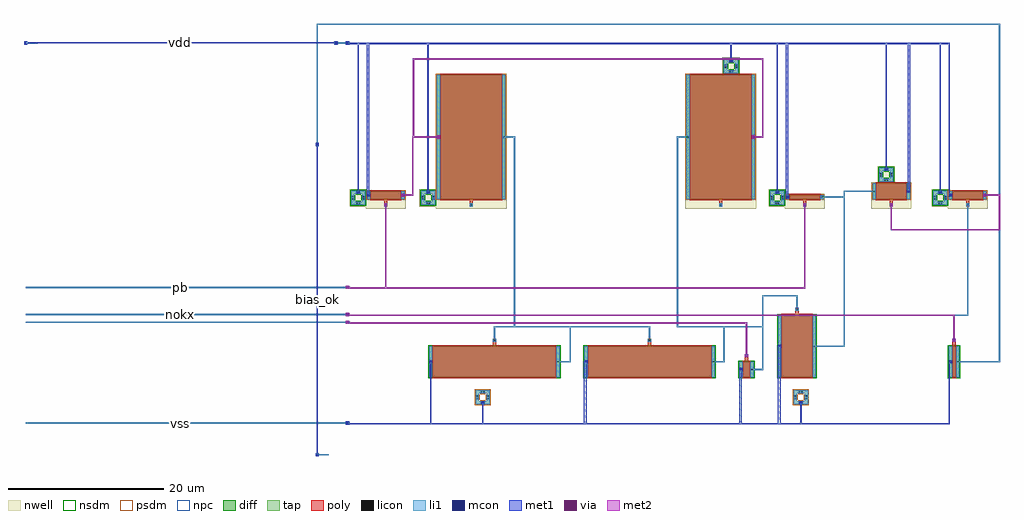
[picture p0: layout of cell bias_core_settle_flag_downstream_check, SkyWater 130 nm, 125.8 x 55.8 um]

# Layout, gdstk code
from math import pi, radians
import gdstk
lib = gdstk.Library(unit=1e-6, precision=1e-09)
def R(c, l, rs):  # rectangles x0, y0, x1, y1
    for r in rs: c.add(gdstk.rectangle(r[:2], r[2:], *l))
def P(c, l, *ps):  # polygons
    for p in ps: c.add(gdstk.Polygon(p, *l))
nwell = (64, 20)
diff = (65, 20)
tap = (65, 44)
poly = (66, 20)
licon = (66, 44)
li1 = (67, 20)
mcon = (67, 44)
met1 = (68, 20)
via = (68, 44)
met2 = (69, 20)
nsdm = (93, 44)
psdm = (94, 20)
npc = (95, 20)

stub_bias_ok__promo_stub = lib.new_cell('stub_bias_ok__promo_stub_v')
R(stub_bias_ok__promo_stub, li1, [(0,0,0.17,1.5)])

stub_nkg__promo_stub = lib.new_cell('stub_nkg__promo_stub')
R(stub_nkg__promo_stub, li1, [(0,0,1.5,0.17)])

stub_nokx__promo_stub = lib.new_cell('stub_nokx__promo_stub')
R(stub_nokx__promo_stub, li1, [(0,0,1.5,0.17)])

stub_pb__promo_stub = lib.new_cell('stub_pb__promo_stub')
R(stub_pb__promo_stub, li1, [(0,0,1.5,0.17)])

stub_vss__promo_stub = lib.new_cell('stub_vss__promo_stub')
R(stub_vss__promo_stub, li1, [(0,0,1.5,0.17)])

stub_vdd__promo_stub = lib.new_cell('stub_vdd__promo_stub')
R(stub_vdd__promo_stub, li1, [(0,0,1.5,0.17)])

pst2__core = lib.new_cell('pst2__core')
P(pst2__core, tap, [(0,0),(0,1.42),(0.42,1.42),(0.42,0.42),(1.42,0.42),(1.42,1.42),(0,1.42),(0,1.84),(1.84,1.84),(1.84,0)])
R(pst2__core, licon, [(0.67,0.125,0.84,0.295), (1,0.125,1.17,0.295), (0.125,0.67,0.295,0.84), (1.545,0.67,1.715,0.84), (0.125,1,0.295,1.17), (1.545,1,1.715,1.17), (0.67,1.545,0.84,1.715), (1,1.545,1.17,1.715)])
P(pst2__core, li1, [(0,0),(0,1.42),(0.42,1.42),(0.42,0.42),(1.42,0.42),(1.42,1.42),(0,1.42),(0,1.84),(1.84,1.84),(1.84,0)])
P(pst2__core, psdm, [(-0.125,-0.125),(-0.125,1.295),(0.545,1.295),(0.545,0.545),(1.295,0.545),(1.295,1.295),(-0.125,1.295),(-0.125,1.965),(1.965,1.965),(1.965,-0.125)])

pst2__pst2 = lib.new_cell('pst2__pst2')
pst2__pst2.add(gdstk.Reference(pst2__core, (0,0)))

pst1__core = lib.new_cell('pst1__core')
P(pst1__core, tap, [(0,0),(0,1.42),(0.42,1.42),(0.42,0.42),(1.42,0.42),(1.42,1.42),(0,1.42),(0,1.84),(1.84,1.84),(1.84,0)])
R(pst1__core, licon, [(0.67,0.125,0.84,0.295), (1,0.125,1.17,0.295), (0.125,0.67,0.295,0.84), (1.545,0.67,1.715,0.84), (0.125,1,0.295,1.17), (1.545,1,1.715,1.17), (0.67,1.545,0.84,1.715), (1,1.545,1.17,1.715)])
P(pst1__core, li1, [(0,0),(0,1.42),(0.42,1.42),(0.42,0.42),(1.42,0.42),(1.42,1.42),(0,1.42),(0,1.84),(1.84,1.84),(1.84,0)])
P(pst1__core, psdm, [(-0.125,-0.125),(-0.125,1.295),(0.545,1.295),(0.545,0.545),(1.295,0.545),(1.295,1.295),(-0.125,1.295),(-0.125,1.965),(1.965,1.965),(1.965,-0.125)])

pst1__pst1 = lib.new_cell('pst1__pst1')
pst1__pst1.add(gdstk.Reference(pst1__core, (0,0)))

nwt_mokh__core = lib.new_cell('nwt_mokh__core')
R(nwt_mokh__core, nwell, [(-0.2,-0.2,2.04,2.04)])
P(nwt_mokh__core, tap, [(0,0),(0,1.42),(0.42,1.42),(0.42,0.42),(1.42,0.42),(1.42,1.42),(0,1.42),(0,1.84),(1.84,1.84),(1.84,0)])
R(nwt_mokh__core, licon, [(0.67,0.125,0.84,0.295), (1,0.125,1.17,0.295), (0.125,0.67,0.295,0.84), (1.545,0.67,1.715,0.84), (0.125,1,0.295,1.17), (1.545,1,1.715,1.17), (0.67,1.545,0.84,1.715), (1,1.545,1.17,1.715)])
P(nwt_mokh__core, li1, [(0,0),(0,1.42),(0.42,1.42),(0.42,0.42),(1.42,0.42),(1.42,1.42),(0,1.42),(0,1.84),(1.84,1.84),(1.84,0)])
P(nwt_mokh__core, nsdm, [(-0.125,-0.125),(-0.125,1.295),(0.545,1.295),(0.545,0.545),(1.295,0.545),(1.295,1.295),(-0.125,1.295),(-0.125,1.965),(1.965,1.965),(1.965,-0.125)])

nwt_mokh__nwt_mokh = lib.new_cell('nwt_mokh__nwt_mokh')
nwt_mokh__nwt_mokh.add(gdstk.Reference(nwt_mokh__core, (0,0)))

nwt_mo1p__core = lib.new_cell('nwt_mo1p__core')
R(nwt_mo1p__core, nwell, [(-0.2,-0.2,2.04,2.04)])
P(nwt_mo1p__core, tap, [(0,0),(0,1.42),(0.42,1.42),(0.42,0.42),(1.42,0.42),(1.42,1.42),(0,1.42),(0,1.84),(1.84,1.84),(1.84,0)])
R(nwt_mo1p__core, licon, [(0.67,0.125,0.84,0.295), (1,0.125,1.17,0.295), (0.125,0.67,0.295,0.84), (1.545,0.67,1.715,0.84), (0.125,1,0.295,1.17), (1.545,1,1.715,1.17), (0.67,1.545,0.84,1.715), (1,1.545,1.17,1.715)])
P(nwt_mo1p__core, li1, [(0,0),(0,1.42),(0.42,1.42),(0.42,0.42),(1.42,0.42),(1.42,1.42),(0,1.42),(0,1.84),(1.84,1.84),(1.84,0)])
P(nwt_mo1p__core, nsdm, [(-0.125,-0.125),(-0.125,1.295),(0.545,1.295),(0.545,0.545),(1.295,0.545),(1.295,1.295),(-0.125,1.295),(-0.125,1.965),(1.965,1.965),(1.965,-0.125)])

nwt_mo1p__nwt_mo1p = lib.new_cell('nwt_mo1p__nwt_mo1p')
nwt_mo1p__nwt_mo1p.add(gdstk.Reference(nwt_mo1p__core, (0,0)))

nwt_mok2p__core = lib.new_cell('nwt_mok2p__core')
R(nwt_mok2p__core, nwell, [(-0.2,-0.2,2.04,2.04)])
P(nwt_mok2p__core, tap, [(0,0),(0,1.42),(0.42,1.42),(0.42,0.42),(1.42,0.42),(1.42,1.42),(0,1.42),(0,1.84),(1.84,1.84),(1.84,0)])
R(nwt_mok2p__core, licon, [(0.67,0.125,0.84,0.295), (1,0.125,1.17,0.295), (0.125,0.67,0.295,0.84), (1.545,0.67,1.715,0.84), (0.125,1,0.295,1.17), (1.545,1,1.715,1.17), (0.67,1.545,0.84,1.715), (1,1.545,1.17,1.715)])
P(nwt_mok2p__core, li1, [(0,0),(0,1.42),(0.42,1.42),(0.42,0.42),(1.42,0.42),(1.42,1.42),(0,1.42),(0,1.84),(1.84,1.84),(1.84,0)])
P(nwt_mok2p__core, nsdm, [(-0.125,-0.125),(-0.125,1.295),(0.545,1.295),(0.545,0.545),(1.295,0.545),(1.295,1.295),(-0.125,1.295),(-0.125,1.965),(1.965,1.965),(1.965,-0.125)])

nwt_mok2p__nwt_mok2p = lib.new_cell('nwt_mok2p__nwt_mok2p')
nwt_mok2p__nwt_mok2p.add(gdstk.Reference(nwt_mok2p__core, (0,0)))

nwt_moka__core = lib.new_cell('nwt_moka__core')
R(nwt_moka__core, nwell, [(-0.2,-0.2,2.04,2.04)])
P(nwt_moka__core, tap, [(0,0),(0,1.42),(0.42,1.42),(0.42,0.42),(1.42,0.42),(1.42,1.42),(0,1.42),(0,1.84),(1.84,1.84),(1.84,0)])
R(nwt_moka__core, licon, [(0.67,0.125,0.84,0.295), (1,0.125,1.17,0.295), (0.125,0.67,0.295,0.84), (1.545,0.67,1.715,0.84), (0.125,1,0.295,1.17), (1.545,1,1.715,1.17), (0.67,1.545,0.84,1.715), (1,1.545,1.17,1.715)])
P(nwt_moka__core, li1, [(0,0),(0,1.42),(0.42,1.42),(0.42,0.42),(1.42,0.42),(1.42,1.42),(0,1.42),(0,1.84),(1.84,1.84),(1.84,0)])
P(nwt_moka__core, nsdm, [(-0.125,-0.125),(-0.125,1.295),(0.545,1.295),(0.545,0.545),(1.295,0.545),(1.295,1.295),(-0.125,1.295),(-0.125,1.965),(1.965,1.965),(1.965,-0.125)])

nwt_moka__nwt_moka = lib.new_cell('nwt_moka__nwt_moka')
nwt_moka__nwt_moka.add(gdstk.Reference(nwt_moka__core, (0,0)))

nwt_mokb__core = lib.new_cell('nwt_mokb__core')
R(nwt_mokb__core, nwell, [(-0.2,-0.2,2.04,2.04)])
P(nwt_mokb__core, tap, [(0,0),(0,1.42),(0.42,1.42),(0.42,0.42),(1.42,0.42),(1.42,1.42),(0,1.42),(0,1.84),(1.84,1.84),(1.84,0)])
R(nwt_mokb__core, licon, [(0.67,0.125,0.84,0.295), (1,0.125,1.17,0.295), (0.125,0.67,0.295,0.84), (1.545,0.67,1.715,0.84), (0.125,1,0.295,1.17), (1.545,1,1.715,1.17), (0.67,1.545,0.84,1.715), (1,1.545,1.17,1.715)])
P(nwt_mokb__core, li1, [(0,0),(0,1.42),(0.42,1.42),(0.42,0.42),(1.42,0.42),(1.42,1.42),(0,1.42),(0,1.84),(1.84,1.84),(1.84,0)])
P(nwt_mokb__core, nsdm, [(-0.125,-0.125),(-0.125,1.295),(0.545,1.295),(0.545,0.545),(1.295,0.545),(1.295,1.295),(-0.125,1.295),(-0.125,1.965),(1.965,1.965),(1.965,-0.125)])

nwt_mokb__nwt_mokb = lib.new_cell('nwt_mokb__nwt_mokb')
nwt_mokb__nwt_mokb.add(gdstk.Reference(nwt_mokb__core, (0,0)))

nwt_mpok__core = lib.new_cell('nwt_mpok__core')
R(nwt_mpok__core, nwell, [(-0.2,-0.2,2.04,2.04)])
P(nwt_mpok__core, tap, [(0,0),(0,1.42),(0.42,1.42),(0.42,0.42),(1.42,0.42),(1.42,1.42),(0,1.42),(0,1.84),(1.84,1.84),(1.84,0)])
R(nwt_mpok__core, licon, [(0.67,0.125,0.84,0.295), (1,0.125,1.17,0.295), (0.125,0.67,0.295,0.84), (1.545,0.67,1.715,0.84), (0.125,1,0.295,1.17), (1.545,1,1.715,1.17), (0.67,1.545,0.84,1.715), (1,1.545,1.17,1.715)])
P(nwt_mpok__core, li1, [(0,0),(0,1.42),(0.42,1.42),(0.42,0.42),(1.42,0.42),(1.42,1.42),(0,1.42),(0,1.84),(1.84,1.84),(1.84,0)])
P(nwt_mpok__core, nsdm, [(-0.125,-0.125),(-0.125,1.295),(0.545,1.295),(0.545,0.545),(1.295,0.545),(1.295,1.295),(-0.125,1.295),(-0.125,1.965),(1.965,1.965),(1.965,-0.125)])

nwt_mpok__nwt_mpok = lib.new_cell('nwt_mpok__nwt_mpok')
nwt_mpok__nwt_mpok.add(gdstk.Reference(nwt_mpok__core, (0,0)))

mokh_pfet__core = lib.new_cell('mokh_pfet__core')
R(mokh_pfet__core, nwell, [(-0.15,-0.15,4.99,3.27)])
R(mokh_pfet__core, diff, [(0,0,4.84,2)])
R(mokh_pfet__core, poly, [(0.42,-0.15,4.42,2), (0.42,2,4.42,2.15), (0.42,2,4.42,2.15), (2.21,2.15,2.63,2.97)])
R(mokh_pfet__core, licon, [(0.125,0.915,0.295,1.085), (4.545,0.915,4.715,1.085), (2.335,2.675,2.505,2.845)])
R(mokh_pfet__core, li1, [(0,0,0.42,2), (4.42,0,4.84,2), (2.21,2.55,2.63,2.97)])
R(mokh_pfet__core, psdm, [(-0.125,-0.125,4.965,2.125)])
R(mokh_pfet__core, npc, [(2.235,2.575,2.605,2.945)])

mokh__mokh_pfet = lib.new_cell('mokh__mokh_pfet')
mokh__mokh_pfet.add(gdstk.Reference(mokh_pfet__core, (0,0)))

mo1n_nfet__core = lib.new_cell('mo1n_nfet__core')
R(mo1n_nfet__core, diff, [(0,0,1.34,4)])
R(mo1n_nfet__core, poly, [(0.42,-0.15,0.92,4), (0.42,4,0.92,4.15), (0.42,4,0.92,4.15), (0.46,4.15,0.88,4.97)])
R(mo1n_nfet__core, licon, [(0.125,1.915,0.295,2.085), (1.045,1.915,1.215,2.085), (0.585,4.675,0.755,4.845)])
R(mo1n_nfet__core, li1, [(0,0,0.42,4), (0.92,0,1.34,4), (0.46,4.55,0.88,4.97)])
R(mo1n_nfet__core, nsdm, [(-0.125,-0.125,1.465,4.125)])
R(mo1n_nfet__core, npc, [(0.485,4.575,0.855,4.945)])

mo1n__mo1n_nfet = lib.new_cell('mo1n__mo1n_nfet')
mo1n__mo1n_nfet.add(gdstk.Reference(mo1n_nfet__core, (0,0)))

mok2_nfet__core = lib.new_cell('mok2_nfet__core')
R(mok2_nfet__core, diff, [(0,0,4.84,8)])
R(mok2_nfet__core, poly, [(0.42,-0.15,4.42,8), (0.42,8,4.42,8.15), (0.42,8,4.42,8.15), (2.21,8.15,2.63,8.97)])
R(mok2_nfet__core, licon, [(0.125,3.915,0.295,4.085), (4.545,3.915,4.715,4.085), (2.335,8.675,2.505,8.845)])
R(mok2_nfet__core, li1, [(0,0,0.42,8), (4.42,0,4.84,8), (2.21,8.55,2.63,8.97)])
R(mok2_nfet__core, nsdm, [(-0.125,-0.125,4.965,8.125)])
R(mok2_nfet__core, npc, [(2.235,8.575,2.605,8.945)])

mok2__mok2_nfet = lib.new_cell('mok2__mok2_nfet')
mok2__mok2_nfet.add(gdstk.Reference(mok2_nfet__core, (0,0)))

mokc_nfet__core = lib.new_cell('mokc_nfet__core')
R(mokc_nfet__core, diff, [(0,0,1.84,2)])
R(mokc_nfet__core, poly, [(0.42,-0.15,1.42,2), (0.42,2,1.42,2.15), (0.42,2,1.42,2.15), (0.71,2.15,1.13,2.97)])
R(mokc_nfet__core, licon, [(0.125,0.915,0.295,1.085), (1.545,0.915,1.715,1.085), (0.835,2.675,1.005,2.845)])
R(mokc_nfet__core, li1, [(0,0,0.42,2), (1.42,0,1.84,2), (0.71,2.55,1.13,2.97)])
R(mokc_nfet__core, nsdm, [(-0.125,-0.125,1.965,2.125)])
R(mokc_nfet__core, npc, [(0.735,2.575,1.105,2.945)])

mokc__mokc_nfet = lib.new_cell('mokc__mokc_nfet')
mokc__mokc_nfet.add(gdstk.Reference(mokc_nfet__core, (0,0)))

mol2_nfet__core = lib.new_cell('mol2_nfet__core')
R(mol2_nfet__core, diff, [(0,0,16.84,4)])
R(mol2_nfet__core, poly, [(0.42,-0.15,16.42,4), (0.42,4,16.42,4.15), (0.42,4,16.42,4.15), (8.21,4.15,8.63,4.97)])
R(mol2_nfet__core, licon, [(0.125,1.915,0.295,2.085), (16.545,1.915,16.715,2.085), (8.335,4.675,8.505,4.845)])
R(mol2_nfet__core, li1, [(0,0,0.42,4), (16.42,0,16.84,4), (8.21,4.55,8.63,4.97)])
R(mol2_nfet__core, nsdm, [(-0.125,-0.125,16.965,4.125)])
R(mol2_nfet__core, npc, [(8.235,4.575,8.605,4.945)])

mol2__mol2_nfet = lib.new_cell('mol2__mol2_nfet')
mol2__mol2_nfet.add(gdstk.Reference(mol2_nfet__core, (0,0)))

mol1_nfet__core = lib.new_cell('mol1_nfet__core')
R(mol1_nfet__core, diff, [(0,0,16.84,4)])
R(mol1_nfet__core, poly, [(0.42,-0.15,16.42,4), (0.42,4,16.42,4.15), (0.42,4,16.42,4.15), (8.21,4.15,8.63,4.97)])
R(mol1_nfet__core, licon, [(0.125,1.915,0.295,2.085), (16.545,1.915,16.715,2.085), (8.335,4.675,8.505,4.845)])
R(mol1_nfet__core, li1, [(0,0,0.42,4), (16.42,0,16.84,4), (8.21,4.55,8.63,4.97)])
R(mol1_nfet__core, nsdm, [(-0.125,-0.125,16.965,4.125)])
R(mol1_nfet__core, npc, [(8.235,4.575,8.605,4.945)])

mol1__mol1_nfet = lib.new_cell('mol1__mol1_nfet')
mol1__mol1_nfet.add(gdstk.Reference(mol1_nfet__core, (0,0)))

mo1p_pfet__core = lib.new_cell('mo1p_pfet__core')
R(mo1p_pfet__core, nwell, [(-0.15,-0.15,4.99,2.27)])
R(mo1p_pfet__core, diff, [(0,0,4.84,1)])
R(mo1p_pfet__core, poly, [(0.42,-0.15,4.42,1), (0.42,1,4.42,1.15), (0.42,1,4.42,1.15), (2.21,1.15,2.63,1.97)])
R(mo1p_pfet__core, licon, [(0.125,0.415,0.295,0.585), (4.545,0.415,4.715,0.585), (2.335,1.675,2.505,1.845)])
R(mo1p_pfet__core, li1, [(0,0,0.42,1), (4.42,0,4.84,1), (2.21,1.55,2.63,1.97)])
R(mo1p_pfet__core, psdm, [(-0.125,-0.125,4.965,1.125)])
R(mo1p_pfet__core, npc, [(2.235,1.575,2.605,1.945)])

mo1p__mo1p_pfet = lib.new_cell('mo1p__mo1p_pfet')
mo1p__mo1p_pfet.add(gdstk.Reference(mo1p_pfet__core, (0,0)))

mok2p_pfet__core = lib.new_cell('mok2p_pfet__core')
R(mok2p_pfet__core, nwell, [(-0.15,-0.15,4.99,1.77)])
R(mok2p_pfet__core, diff, [(0,0,4.84,0.5)])
R(mok2p_pfet__core, poly, [(0.42,-0.15,4.42,0.5), (0.42,0.5,4.42,0.65), (0.42,0.5,4.42,0.65), (2.21,0.65,2.63,1.47)])
R(mok2p_pfet__core, licon, [(0.125,0.165,0.295,0.335), (4.545,0.165,4.715,0.335), (2.335,1.175,2.505,1.345)])
R(mok2p_pfet__core, li1, [(0,0,0.42,0.5), (4.42,0,4.84,0.5), (2.21,1.05,2.63,1.47)])
R(mok2p_pfet__core, psdm, [(-0.125,-0.125,4.965,0.625)])
R(mok2p_pfet__core, npc, [(2.235,1.075,2.605,1.445)])

mok2p__mok2p_pfet = lib.new_cell('mok2p__mok2p_pfet')
mok2p__mok2p_pfet.add(gdstk.Reference(mok2p_pfet__core, (0,0)))

moka_pfet__core = lib.new_cell('moka_pfet__core')
R(moka_pfet__core, nwell, [(-0.15,-0.15,8.99,17.27)])
R(moka_pfet__core, diff, [(0,0,8.84,16)])
R(moka_pfet__core, poly, [(0.42,-0.15,8.42,16), (0.42,16,8.42,16.15), (0.42,16,8.42,16.15), (4.21,16.15,4.63,16.97)])
R(moka_pfet__core, licon, [(0.125,7.915,0.295,8.085), (8.545,7.915,8.715,8.085), (4.335,16.675,4.505,16.845)])
R(moka_pfet__core, li1, [(0,0,0.42,16), (8.42,0,8.84,16), (4.21,16.55,4.63,16.97)])
R(moka_pfet__core, psdm, [(-0.125,-0.125,8.965,16.125)])
R(moka_pfet__core, npc, [(4.235,16.575,4.605,16.945)])

moka__moka_pfet = lib.new_cell('moka__moka_pfet')
moka__moka_pfet.add(gdstk.Reference(moka_pfet__core, (0,0)))

mokb_pfet__core = lib.new_cell('mokb_pfet__core')
R(mokb_pfet__core, nwell, [(-0.15,-0.15,8.99,17.27)])
R(mokb_pfet__core, diff, [(0,0,8.84,16)])
R(mokb_pfet__core, poly, [(0.42,-0.15,8.42,16), (0.42,16,8.42,16.15), (0.42,16,8.42,16.15), (4.21,16.15,4.63,16.97)])
R(mokb_pfet__core, licon, [(0.125,7.915,0.295,8.085), (8.545,7.915,8.715,8.085), (4.335,16.675,4.505,16.845)])
R(mokb_pfet__core, li1, [(0,0,0.42,16), (8.42,0,8.84,16), (4.21,16.55,4.63,16.97)])
R(mokb_pfet__core, psdm, [(-0.125,-0.125,8.965,16.125)])
R(mokb_pfet__core, npc, [(4.235,16.575,4.605,16.945)])

mokb__mokb_pfet = lib.new_cell('mokb__mokb_pfet')
mokb__mokb_pfet.add(gdstk.Reference(mokb_pfet__core, (0,0)))

mpok_pfet__core = lib.new_cell('mpok_pfet__core')
R(mpok_pfet__core, nwell, [(-0.15,-0.15,4.99,2.27)])
R(mpok_pfet__core, diff, [(0,0,4.84,1)])
R(mpok_pfet__core, poly, [(0.42,-0.15,4.42,1), (0.42,1,4.42,1.15), (0.42,1,4.42,1.15), (2.21,1.15,2.63,1.97)])
R(mpok_pfet__core, licon, [(0.125,0.415,0.295,0.585), (4.545,0.415,4.715,0.585), (2.335,1.675,2.505,1.845)])
R(mpok_pfet__core, li1, [(0,0,0.42,1), (4.42,0,4.84,1), (2.21,1.55,2.63,1.97)])
R(mpok_pfet__core, psdm, [(-0.125,-0.125,4.965,1.125)])
R(mpok_pfet__core, npc, [(2.235,1.575,2.605,1.945)])

mpok__mpok_pfet = lib.new_cell('mpok__mpok_pfet')
mpok__mpok_pfet.add(gdstk.Reference(mpok_pfet__core, (0,0)))

sub__bias_core_settle_fl = lib.new_cell('sub__bias_core_settle_flag')
R(sub__bias_core_settle_fl, li1, [(-2.71,-6.125,-2.29,-5.705), (14.71,-3.5,15.13,-3.08), (14.71,-3.5,15.13,-3.08), (55.71,-3.5,56.13,-3.08), (55.71,-3.5,56.13,-3.08), (48,0.79,48.42,1.21), (48,0.79,48.42,1.21), (8,1.79,8.42,2.21), (8,1.79,8.42,2.21), (28,1.79,28.42,2.21), (28,1.79,28.42,2.21), (75,1.79,75.42,2.21), (48.71,2.55,49.13,2.97), (53,3.79,53.42,4.21), (53,3.79,53.42,4.21), (75.46,4.55,75.88,4.97), (16.21,4.76,16.63,4.93), (16.21,4.76,16.63,4.93), (36.21,4.76,36.63,4.93), (36.21,4.76,36.63,4.93), (75.46,4.76,75.88,4.93), (75.46,4.76,75.88,4.93), (-2.71,6.875,-2.29,7.295), (-2.71,7.875,-2.29,8.295), (55.21,8.76,55.63,8.93), (-2.71,11.375,-2.29,11.795), (2.21,22,2.63,22.42), (2.21,22,2.63,22.42), (56.21,22,56.63,22.42), (67.37,22,67.79,22.42), (77.21,22.04,77.63,22.21), (54,23.01,54.42,23.43), (54,23.01,54.42,23.43), (0,23.26,0.42,23.68), (0,23.26,0.42,23.68), (4.42,23.26,4.84,23.68), (75,23.26,75.42,23.68), (79.42,23.26,79.84,23.68), (-1.33,23.62,-0.91,24.04), (-1.33,23.62,-0.91,24.04), (7.67,23.62,8.09,24.04), (7.67,23.62,8.09,24.04), (52.67,23.62,53.09,24.04), (52.67,23.62,53.09,24.04), (73.67,23.62,74.09,24.04), (73.67,23.62,74.09,24.04), (69.58,23.76,70,24.18), (69.58,23.76,70,24.18), (66.72,26.59,67.14,27.01), (66.72,26.59,67.14,27.01), (9,30.76,9.42,31.18), (9,30.76,9.42,31.18), (49.58,30.76,50,31.18), (46.72,40.59,47.14,41.01), (46.72,40.59,47.14,41.01), (-2.71,42.875,-2.29,43.295)])
R(sub__bias_core_settle_fl, mcon, [(-2.585,-6,-2.415,-5.83), (14.835,-3.375,15.005,-3.205), (14.835,-3.375,15.005,-3.205), (55.835,-3.375,56.005,-3.205), (55.835,-3.375,56.005,-3.205), (48.125,0.915,48.295,1.085), (48.125,0.915,48.295,1.085), (8.125,1.915,8.295,2.085), (8.125,1.915,8.295,2.085), (28.125,1.915,28.295,2.085), (28.125,1.915,28.295,2.085), (75.125,1.915,75.295,2.085), (48.835,2.675,49.005,2.845), (53.125,3.915,53.295,4.085), (53.125,3.915,53.295,4.085), (75.585,4.675,75.755,4.845), (-2.585,7,-2.415,7.17), (-2.585,8,-2.415,8.17), (-2.585,11.5,-2.415,11.67), (2.335,22.125,2.505,22.295), (2.335,22.125,2.505,22.295), (56.335,22.125,56.505,22.295), (67.495,22.125,67.665,22.295), (54.125,23.135,54.295,23.305), (54.125,23.135,54.295,23.305), (0.125,23.385,0.295,23.555), (0.125,23.385,0.295,23.555), (4.545,23.385,4.715,23.555), (75.125,23.385,75.295,23.555), (79.545,23.385,79.715,23.555), (-1.205,23.745,-1.035,23.915), (-1.205,23.745,-1.035,23.915), (7.795,23.745,7.965,23.915), (7.795,23.745,7.965,23.915), (52.795,23.745,52.965,23.915), (52.795,23.745,52.965,23.915), (73.795,23.745,73.965,23.915), (73.795,23.745,73.965,23.915), (69.705,23.885,69.875,24.055), (69.705,23.885,69.875,24.055), (66.845,26.715,67.015,26.885), (66.845,26.715,67.015,26.885), (9.125,30.885,9.295,31.055), (9.125,30.885,9.295,31.055), (49.705,30.885,49.875,31.055), (46.845,40.715,47.015,40.885), (46.845,40.715,47.015,40.885), (-2.585,43,-2.415,43.17)])
R(sub__bias_core_settle_fl, met1, [(-2.71,-6.125,-2.29,-5.705), (14.71,-3.5,15.13,-3.08), (14.71,-3.5,15.13,-3.08), (55.71,-3.5,56.13,-3.08), (55.71,-3.5,56.13,-3.08), (48,0.79,48.42,1.21), (48,0.79,48.42,1.21), (8,1.79,8.42,2.21), (8,1.79,8.42,2.21), (28,1.79,28.42,2.21), (28,1.79,28.42,2.21), (75,1.79,75.42,2.21), (48.71,2.55,49.13,2.97), (48.71,2.55,49.13,2.97), (53,3.79,53.42,4.21), (53,3.79,53.42,4.21), (75.46,4.55,75.88,4.97), (75.46,4.55,75.88,4.97), (-2.71,6.875,-2.29,7.295), (-2.71,6.875,-2.29,7.295), (-2.71,7.875,-2.29,8.295), (-2.71,7.875,-2.29,8.295), (-2.71,11.375,-2.29,11.795), (-2.71,11.375,-2.29,11.795), (2.21,22,2.63,22.42), (2.21,22,2.63,22.42), (2.21,22,2.63,22.42), (2.21,22,2.63,22.42), (56.21,22,56.63,22.42), (56.21,22,56.63,22.42), (67.37,22,67.79,22.42), (67.37,22,67.79,22.42), (54,23.01,54.42,23.43), (54,23.01,54.42,23.43), (0,23.26,0.42,23.68), (0,23.26,0.42,23.68), (4.42,23.26,4.84,23.68), (4.42,23.26,4.84,23.68), (75,23.26,75.42,23.68), (79.42,23.26,79.84,23.68), (79.42,23.26,79.84,23.68), (-1.33,23.62,-0.91,24.04), (-1.33,23.62,-0.91,24.04), (7.67,23.62,8.09,24.04), (7.67,23.62,8.09,24.04), (52.67,23.62,53.09,24.04), (52.67,23.62,53.09,24.04), (73.67,23.62,74.09,24.04), (73.67,23.62,74.09,24.04), (69.58,23.76,70,24.18), (69.58,23.76,70,24.18), (66.72,26.59,67.14,27.01), (66.72,26.59,67.14,27.01), (9,30.76,9.42,31.18), (9,30.76,9.42,31.18), (9,30.76,9.42,31.18), (9,30.76,9.42,31.18), (49.58,30.76,50,31.18), (49.58,30.76,50,31.18), (46.72,40.59,47.14,41.01), (46.72,40.59,47.14,41.01), (-2.71,42.875,-2.29,43.295)])
R(sub__bias_core_settle_fl, via, [(48.845,2.685,48.995,2.835), (75.595,4.685,75.745,4.835), (-2.575,7.01,-2.425,7.16), (-2.575,8.01,-2.425,8.16), (-2.575,11.51,-2.425,11.66), (2.345,22.135,2.495,22.285), (2.345,22.135,2.495,22.285), (56.345,22.135,56.495,22.285), (67.505,22.135,67.655,22.285), (4.555,23.395,4.705,23.545), (79.555,23.395,79.705,23.545), (9.135,30.895,9.285,31.045), (9.135,30.895,9.285,31.045), (49.715,30.895,49.865,31.045)])
R(sub__bias_core_settle_fl, met2, [(48.71,2.55,49.13,2.97), (75.46,4.55,75.88,4.97), (-2.71,6.875,-2.29,7.295), (-2.71,7.875,-2.29,8.295), (-2.71,11.375,-2.29,11.795), (2.21,22,2.63,22.42), (2.21,22,2.63,22.42), (56.21,22,56.63,22.42), (67.37,22,67.79,22.42), (4.42,23.26,4.84,23.68), (79.42,23.26,79.84,23.68), (9,30.76,9.42,31.18), (9,30.76,9.42,31.18), (49.58,30.76,50,31.18)])
sub__bias_core_settle_fl.add(gdstk.FlexPath([(17.63,30.97),(19,30.97),(19,6.5),(36.42,6.5),(36.42,4.76)], 0.17, ends="flush", simple_path=True, layer=67, datatype=20))  # li1
sub__bias_core_settle_fl.add(gdstk.FlexPath([(36.42,4.76),(36.42,6.5),(16.42,6.5),(16.42,4.76)], 0.17, ends="flush", simple_path=True, layer=67, datatype=20))  # li1
sub__bias_core_settle_fl.add(gdstk.FlexPath([(16.42,4.76),(16.42,6.5),(26.2,6.5),(26.2,2),(24.63,2)], 0.17, ends="flush", simple_path=True, layer=67, datatype=20))  # li1
sub__bias_core_settle_fl.add(gdstk.FlexPath([(41.37,30.97),(40,30.97),(40,6.5),(46,6.5),(46,2),(44.63,2)], 0.17, ends="flush", simple_path=True, layer=67, datatype=20))  # li1
sub__bias_core_settle_fl.add(gdstk.FlexPath([(44.63,2),(46,2),(46,6.5),(51,6.5),(51,1),(49.63,1)], 0.17, ends="flush", simple_path=True, layer=67, datatype=20))  # li1
sub__bias_core_settle_fl.add(gdstk.FlexPath([(49.63,1),(51,1),(51,10.5),(55.42,10.5),(55.42,8.76)], 0.17, ends="flush", simple_path=True, layer=67, datatype=20))  # li1
sub__bias_core_settle_fl.add(gdstk.FlexPath([(58.63,23.22),(61.5,23.22),(61.5,4),(57.63,4)], 0.17, ends="flush", simple_path=True, layer=67, datatype=20))  # li1
sub__bias_core_settle_fl.add(gdstk.FlexPath([(58.63,23.22),(61.5,23.22),(61.5,23.97),(65.37,23.97)], 0.17, ends="flush", simple_path=True, layer=67, datatype=20))  # li1
sub__bias_core_settle_fl.add(gdstk.FlexPath([(57.63,4),(61.5,4),(61.5,8),(75.67,8),(75.67,4.76)], 0.17, ends="flush", simple_path=True, layer=67, datatype=20))  # li1
sub__bias_core_settle_fl.add(gdstk.FlexPath([(75.67,4.76),(75.67,8),(77.42,8),(77.42,22.21)], 0.17, ends="flush", simple_path=True, layer=67, datatype=20))  # li1
sub__bias_core_settle_fl.add(gdstk.FlexPath([(79.63,23.47),(81.5,23.47),(81.5,2),(76.13,2)], 0.17, ends="flush", simple_path=True, layer=67, datatype=20))  # li1
sub__bias_core_settle_fl.add(gdstk.FlexPath([(79.63,23.47),(81.5,23.47),(81.5,45.5),(-6.415,45.5),(-6.415,31.5)], 0.17, ends="flush", simple_path=True, layer=67, datatype=20))  # li1
sub__bias_core_settle_fl.add(gdstk.FlexPath([(-1.12,23.83),(-1.12,43),(0.04,43),(0.04,23.47),(0.21,23.47)], 0.17, ends="flush", simple_path=True, layer=68, datatype=20))  # met1
sub__bias_core_settle_fl.add(gdstk.FlexPath([(0.21,23.47),(0.21,43),(7.88,43),(7.88,23.83)], 0.17, ends="flush", simple_path=True, layer=68, datatype=20))  # met1
sub__bias_core_settle_fl.add(gdstk.FlexPath([(7.88,23.83),(7.88,43),(46.93,43),(46.93,40.8)], 0.17, ends="flush", simple_path=True, layer=68, datatype=20))  # met1
sub__bias_core_settle_fl.add(gdstk.FlexPath([(46.93,40.8),(46.93,43),(52.88,43),(52.88,23.83)], 0.17, ends="flush", simple_path=True, layer=68, datatype=20))  # met1
sub__bias_core_settle_fl.add(gdstk.FlexPath([(52.88,23.83),(52.88,43),(54.04,43),(54.04,23.22),(54.21,23.22)], 0.17, ends="flush", simple_path=True, layer=68, datatype=20))  # met1
sub__bias_core_settle_fl.add(gdstk.FlexPath([(54.21,23.22),(54.21,43),(66.93,43),(66.93,26.8)], 0.17, ends="flush", simple_path=True, layer=68, datatype=20))  # met1
sub__bias_core_settle_fl.add(gdstk.FlexPath([(66.93,26.8),(66.93,43),(69.96,43),(69.96,23.97),(69.79,23.97)], 0.17, ends="flush", simple_path=True, layer=68, datatype=20))  # met1
sub__bias_core_settle_fl.add(gdstk.FlexPath([(69.79,23.97),(69.79,43),(73.88,43),(73.88,23.83)], 0.17, ends="flush", simple_path=True, layer=68, datatype=20))  # met1
sub__bias_core_settle_fl.add(gdstk.FlexPath([(73.88,23.83),(73.88,43),(75.04,43),(75.04,23.47),(75.21,23.47)], 0.17, ends="flush", simple_path=True, layer=68, datatype=20))  # met1
sub__bias_core_settle_fl.add(gdstk.FlexPath([(-1.12,23.83),(-1.12,43),(-2.33,43),(-2.33,43.085),(-2.5,43.085)], 0.17, ends="flush", simple_path=True, layer=68, datatype=20))  # met1
sub__bias_core_settle_fl.add(gdstk.FlexPath([(8.21,2),(8.21,-6),(14.92,-6),(14.92,-3.29)], 0.17, ends="flush", simple_path=True, layer=68, datatype=20))  # met1
sub__bias_core_settle_fl.add(gdstk.FlexPath([(14.92,-3.29),(14.92,-6),(28.04,-6),(28.04,2),(28.21,2)], 0.17, ends="flush", simple_path=True, layer=68, datatype=20))  # met1
sub__bias_core_settle_fl.add(gdstk.FlexPath([(28.21,2),(28.21,-6),(48.04,-6),(48.04,1),(48.21,1)], 0.17, ends="flush", simple_path=True, layer=68, datatype=20))  # met1
sub__bias_core_settle_fl.add(gdstk.FlexPath([(48.21,1),(48.21,-6),(53.04,-6),(53.04,4),(53.21,4)], 0.17, ends="flush", simple_path=True, layer=68, datatype=20))  # met1
sub__bias_core_settle_fl.add(gdstk.FlexPath([(53.21,4),(53.21,-6),(55.92,-6),(55.92,-3.29)], 0.17, ends="flush", simple_path=True, layer=68, datatype=20))  # met1
sub__bias_core_settle_fl.add(gdstk.FlexPath([(55.92,-3.29),(55.92,-6),(75.04,-6),(75.04,2),(75.21,2)], 0.17, ends="flush", simple_path=True, layer=68, datatype=20))  # met1
sub__bias_core_settle_fl.add(gdstk.FlexPath([(8.21,2),(8.21,-6),(-2.33,-6),(-2.33,-5.915),(-2.5,-5.915)], 0.17, ends="flush", simple_path=True, layer=68, datatype=20))  # met1
sub__bias_core_settle_fl.add(gdstk.FlexPath([(4.63,23.47),(5.9,23.47),(5.9,30.97),(9.21,30.97)], 0.17, ends="flush", simple_path=True, layer=69, datatype=20))  # met2
sub__bias_core_settle_fl.add(gdstk.FlexPath([(9.21,30.97),(6,30.97),(6,41),(51,41),(51,30.97),(49.79,30.97)], 0.17, ends="flush", simple_path=True, layer=69, datatype=20))  # met2
sub__bias_core_settle_fl.add(gdstk.FlexPath([(2.42,22.21),(2.42,11.5),(56.42,11.5),(56.42,22.21)], 0.17, ends="flush", simple_path=True, layer=69, datatype=20))  # met2
sub__bias_core_settle_fl.add(gdstk.FlexPath([(2.42,22.21),(2.42,11.5),(-2.33,11.5),(-2.33,11.585),(-2.5,11.585)], 0.17, ends="flush", simple_path=True, layer=69, datatype=20))  # met2
sub__bias_core_settle_fl.add(gdstk.FlexPath([(75.67,4.76),(75.67,8),(-2.33,8),(-2.33,8.085),(-2.5,8.085)], 0.17, ends="flush", simple_path=True, layer=69, datatype=20))  # met2
sub__bias_core_settle_fl.add(gdstk.FlexPath([(79.63,23.47),(81.5,23.47),(81.5,19),(67.58,19),(67.58,22.21)], 0.17, ends="flush", simple_path=True, layer=69, datatype=20))  # met2
sub__bias_core_settle_fl.add(gdstk.FlexPath([(48.92,2.76),(48.92,7),(-2.33,7),(-2.33,7.085),(-2.5,7.085)], 0.17, ends="flush", simple_path=True, layer=69, datatype=20))  # met2
sub__bias_core_settle_fl.add(gdstk.Reference(stub_bias_ok__promo_stub, (-6.5,30)))
sub__bias_core_settle_fl.add(gdstk.Reference(stub_nkg__promo_stub, (-4,7)))
sub__bias_core_settle_fl.add(gdstk.Reference(stub_nokx__promo_stub, (-4,8)))
sub__bias_core_settle_fl.add(gdstk.Reference(stub_pb__promo_stub, (-4,11.5)))
sub__bias_core_settle_fl.add(gdstk.Reference(stub_vss__promo_stub, (-4,-6)))
sub__bias_core_settle_fl.add(gdstk.Reference(stub_vdd__promo_stub, (-4,43)))
sub__bias_core_settle_fl.add(gdstk.Reference(pst2__pst2, (55,-3.5)))
sub__bias_core_settle_fl.add(gdstk.Reference(pst1__pst1, (14,-3.5)))
sub__bias_core_settle_fl.add(gdstk.Reference(nwt_mokh__nwt_mokh, (66.01,25.17)))
sub__bias_core_settle_fl.add(gdstk.Reference(nwt_mo1p__nwt_mo1p, (72.96,22.2)))
sub__bias_core_settle_fl.add(gdstk.Reference(nwt_mok2p__nwt_mok2p, (51.96,22.2)))
sub__bias_core_settle_fl.add(gdstk.Reference(nwt_moka__nwt_moka, (46.01,39.17)))
sub__bias_core_settle_fl.add(gdstk.Reference(nwt_mokb__nwt_mokb, (6.96,22.2)))
sub__bias_core_settle_fl.add(gdstk.Reference(nwt_mpok__nwt_mpok, (-2.04,22.2)))
sub__bias_core_settle_fl.add(gdstk.Reference(mokh__mokh_pfet, (70,24.97), rotation=pi))
sub__bias_core_settle_fl.add(gdstk.Reference(mo1n__mo1n_nfet, (75,0)))
sub__bias_core_settle_fl.add(gdstk.Reference(mok2__mok2_nfet, (53,0)))
sub__bias_core_settle_fl.add(gdstk.Reference(mokc__mokc_nfet, (48,0)))
sub__bias_core_settle_fl.add(gdstk.Reference(mol2__mol2_nfet, (28,0)))
sub__bias_core_settle_fl.add(gdstk.Reference(mol1__mol1_nfet, (8,0)))
sub__bias_core_settle_fl.add(gdstk.Reference(mo1p__mo1p_pfet, (75,23.97), x_reflection=True))
sub__bias_core_settle_fl.add(gdstk.Reference(mok2p__mok2p_pfet, (54,23.47), x_reflection=True))
sub__bias_core_settle_fl.add(gdstk.Reference(moka__moka_pfet, (50,38.97), rotation=pi))
sub__bias_core_settle_fl.add(gdstk.Reference(mokb__mokb_pfet, (9,38.97), x_reflection=True))
sub__bias_core_settle_fl.add(gdstk.Reference(mpok__mpok_pfet, (0,23.97), x_reflection=True))
sub__bias_core_settle_fl.add(gdstk.Label('vdd', (-0.275,43), layer=68, texttype=5))
sub__bias_core_settle_fl.add(gdstk.Label('vss', (8.92,-6), layer=68, texttype=5))
sub__bias_core_settle_fl.add(gdstk.Label('tok', (5.9,28.24), layer=69, texttype=5))
sub__bias_core_settle_fl.add(gdstk.Label('pb', (29.42,11.5), layer=69, texttype=5))
sub__bias_core_settle_fl.add(gdstk.Label('nkg', (25.288,7), layer=69, texttype=5))
sub__bias_core_settle_fl.add(gdstk.Label('nokl', (19,9.84), layer=67, texttype=5))
sub__bias_core_settle_fl.add(gdstk.Label('noko', (40,13.485), layer=67, texttype=5))
sub__bias_core_settle_fl.add(gdstk.Label('nokx', (61.5,13.11), layer=67, texttype=5))
sub__bias_core_settle_fl.add(gdstk.Label('bias_ok', (81.5,10.985), layer=67, texttype=5))
sub__bias_core_settle_fl.add(gdstk.Label('na', (45.58,22.21), layer=67, texttype=5))
sub__bias_core_settle_fl.add(gdstk.Label('nbtop', (13.42,22.21), layer=67, texttype=5))
sub__bias_core_settle_fl.add(gdstk.Label('vdd', (-4,43.085), layer=67, texttype=5))
sub__bias_core_settle_fl.add(gdstk.Label('vss', (-4,-5.915), layer=67, texttype=5))
sub__bias_core_settle_fl.add(gdstk.Label('pb', (-4,11.585), layer=67, texttype=5))
sub__bias_core_settle_fl.add(gdstk.Label('nokx', (-4,8.085), layer=67, texttype=5))
sub__bias_core_settle_fl.add(gdstk.Label('nkg', (-4,7.085), layer=67, texttype=5))
sub__bias_core_settle_fl.add(gdstk.Label('bias_ok', (-6.415,30), layer=67, texttype=5))

dummy_vdd__promo_stub = lib.new_cell('dummy_vdd__promo_stub')
R(dummy_vdd__promo_stub, li1, [(0,0,1.5,0.17)])

dummy_vss__promo_stub = lib.new_cell('dummy_vss__promo_stub')
R(dummy_vss__promo_stub, li1, [(0,0,1.5,0.17)])

dummy_pb__promo_stub = lib.new_cell('dummy_pb__promo_stub')
R(dummy_pb__promo_stub, li1, [(0,0,1.5,0.17)])

dummy_nokx__promo_stub = lib.new_cell('dummy_nokx__promo_stub')
R(dummy_nokx__promo_stub, li1, [(0,0,1.5,0.17)])

dummy_nkg__promo_stub = lib.new_cell('dummy_nkg__promo_stub')
R(dummy_nkg__promo_stub, li1, [(0,0,1.5,0.17)])

dummy_bias_ok__promo_stu = lib.new_cell('dummy_bias_ok__promo_stub')
R(dummy_bias_ok__promo_stu, li1, [(0,0,1.5,0.17)])

bias_core_settle_flag_do = lib.new_cell('bias_core_settle_flag_downstream_check')
R(bias_core_settle_flag_do, li1, [(-6.625,-10.21,-6.205,-9.79), (-6.625,29.79,-6.205,30.21), (-44.21,42.875,-43.79,43.295), (-4.21,42.875,-3.79,43.295)])
R(bias_core_settle_flag_do, mcon, [(-6.5,-10.085,-6.33,-9.915), (-6.5,29.915,-6.33,30.085), (-44.085,43,-43.915,43.17), (-4.085,43,-3.915,43.17)])
R(bias_core_settle_flag_do, met1, [(-6.625,-10.21,-6.205,-9.79), (-6.625,29.79,-6.205,30.21), (-44.21,42.875,-43.79,43.295), (-4.21,42.875,-3.79,43.295)])
bias_core_settle_flag_do.add(gdstk.FlexPath([(-4,-5.915),(-44,-5.915)], 0.17, ends="flush", simple_path=True, layer=67, datatype=20))  # li1
bias_core_settle_flag_do.add(gdstk.FlexPath([(-4,11.585),(-44,11.585)], 0.17, ends="flush", simple_path=True, layer=67, datatype=20))  # li1
bias_core_settle_flag_do.add(gdstk.FlexPath([(-4,8.085),(-44,8.085)], 0.17, ends="flush", simple_path=True, layer=67, datatype=20))  # li1
bias_core_settle_flag_do.add(gdstk.FlexPath([(-4,7.085),(-44,7.085)], 0.17, ends="flush", simple_path=True, layer=67, datatype=20))  # li1
bias_core_settle_flag_do.add(gdstk.FlexPath([(-4,43.085),(-44,43.085)], 0.14, ends="flush", simple_path=True, layer=68, datatype=20))  # met1
bias_core_settle_flag_do.add(gdstk.FlexPath([(-6.415,30),(-6.415,-10)], 0.14, ends="flush", simple_path=True, layer=68, datatype=20))  # met1
bias_core_settle_flag_do.add(gdstk.Reference(sub__bias_core_settle_fl, (0,0)))
bias_core_settle_flag_do.add(gdstk.Reference(dummy_vdd__promo_stub, (-44,43)))
bias_core_settle_flag_do.add(gdstk.Reference(dummy_vss__promo_stub, (-44,-6)))
bias_core_settle_flag_do.add(gdstk.Reference(dummy_pb__promo_stub, (-44,11.5)))
bias_core_settle_flag_do.add(gdstk.Reference(dummy_nokx__promo_stub, (-44,8)))
bias_core_settle_flag_do.add(gdstk.Reference(dummy_nkg__promo_stub, (-44,7)))
bias_core_settle_flag_do.add(gdstk.Reference(dummy_bias_ok__promo_stu, (-6.415,-10.085)))
bias_core_settle_flag_do.add(gdstk.Label('vdd', (-24,43.085), layer=68, texttype=5))
bias_core_settle_flag_do.add(gdstk.Label('bias_ok', (-6.415,10), layer=68, texttype=5))
bias_core_settle_flag_do.add(gdstk.Label('vss', (-24,-5.915), layer=67, texttype=5))
bias_core_settle_flag_do.add(gdstk.Label('pb', (-24,11.585), layer=67, texttype=5))
bias_core_settle_flag_do.add(gdstk.Label('nokx', (-24,8.085), layer=67, texttype=5))
bias_core_settle_flag_do.add(gdstk.Label('nkg', (-24,7.085), layer=67, texttype=5))

lib.write_gds('bias_core_settle_flag_downstream_check.gds')
